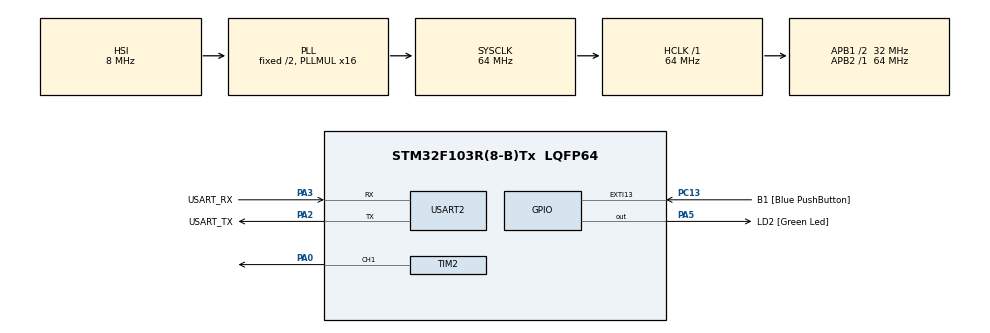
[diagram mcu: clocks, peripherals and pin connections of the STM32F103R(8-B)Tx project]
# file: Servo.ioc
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Mcu.Family=STM32F1
Mcu.Name=STM32F103R(8-B)Tx
Mcu.Package=LQFP64
NVIC.EXTI15_10_IRQn=true\:0\:0\:false\:false\:true\:true\:true\:true
NVIC.PriorityGroup=NVIC_PRIORITYGROUP_4
PA0-WKUP.Signal=S_TIM2_CH1_ETR
PA13.GPIO_Label=TMS
PA13.Mode=Serial_Wire
PA13.Signal=SYS_JTMS-SWDIO
PA14.GPIO_Label=TCK
PA14.Mode=Serial_Wire
PA14.Signal=SYS_JTCK-SWCLK
PA2.GPIO_Label=USART_TX
PA2.GPIO_Mode=GPIO_MODE_AF_PP
PA2.GPIO_PuPd=GPIO_NOPULL
PA2.GPIO_Speed=GPIO_SPEED_FREQ_LOW
PA2.Mode=Asynchronous
PA2.Signal=USART2_TX
PA3.GPIO_Label=USART_RX
PA3.GPIO_Mode=GPIO_MODE_AF_PP
PA3.GPIO_PuPd=GPIO_NOPULL
PA3.GPIO_Speed=GPIO_SPEED_FREQ_LOW
PA3.Mode=Asynchronous
PA3.Signal=USART2_RX
PA5.GPIO_Label=LD2 [Green Led]
PA5.GPIO_ModeDefaultOutputPP=GPIO_MODE_OUTPUT_PP
PA5.GPIO_PuPd=GPIO_NOPULL
PA5.GPIO_Speed=GPIO_SPEED_FREQ_LOW
PA5.Signal=GPIO_Output
PB3.GPIO_Label=SWO
PB3.Signal=SYS_JTDO-TRACESWO
PC13-TAMPER-RTC.GPIO_Label=B1 [Blue PushButton]
PC13-TAMPER-RTC.GPIO_PuPd=GPIO_NOPULL
PC13-TAMPER-RTC.Signal=GPXTI13
PC14-OSC32_IN.Signal=RCC_OSC32_IN
PC15-OSC32_OUT.Signal=RCC_OSC32_OUT
PD0-OSC_IN.Signal=RCC_OSC_IN
PD1-OSC_OUT.Signal=RCC_OSC_OUT
ProjectManager.HeapSize=0x200
ProjectManager.StackSize=0x400
ProjectManager.TargetToolchain=STM32CubeIDE
RCC.AHBFreq_Value=64000000
RCC.APB1CLKDivider=RCC_HCLK_DIV2
RCC.APB1Freq_Value=32000000
RCC.APB1TimFreq_Value=64000000
RCC.APB2Freq_Value=64000000
RCC.APB2TimFreq_Value=64000000
RCC.HCLKFreq_Value=64000000
RCC.PLLMUL=RCC_PLL_MUL16
RCC.RTCClockSelection=RCC_RTCCLKSOURCE_LSE
RCC.SYSCLKFreq_VALUE=64000000
RCC.SYSCLKSource=RCC_SYSCLKSOURCE_PLLCLK
RCC.USBFreq_Value=64000000
SH.S_TIM2_CH1_ETR.0=TIM2_CH1,PWM Generation1 CH1
TIM2.Channel-PWM\ Generation1\ CH1=TIM_CHANNEL_1
TIM2.Period=1000-1
TIM2.Prescaler=1280-1
USART2.VirtualMode=VM_ASYNC
VP_TIM2_VS_ClockSourceINT.Mode=Internal
board=NUCLEO-F103RB

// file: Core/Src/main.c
/* USER CODE BEGIN Header */
/**
  ******************************************************************************
  * @file           : main.c
  * @brief          : Main program body
  ******************************************************************************
  * @attention
  *
  * Copyright (c) 2026 STMicroelectronics.
  * All rights reserved.
  *
  * This software is licensed under terms that can be found in the LICENSE file
  * in the root directory of this software component.
  * If no LICENSE file comes with this software, it is provided AS-IS.
  *
  ******************************************************************************
  */
/* USER CODE END Header */
#include "main.h"

/* USER CODE BEGIN Includes */
#include "uart2_printf.h"
/* USER CODE END Includes */

/* USER CODE BEGIN PD */
#define MAX_POS 125
#define MIN_POS  25
#define POS_STEP  1
/* USER CODE END PD */

TIM_HandleTypeDef htim2;

UART_HandleTypeDef huart2;

/* USER CODE BEGIN PV */
uint8_t ch;
uint8_t pos = 75;
/* USER CODE END PV */

void SystemClock_Config(void);
static void MX_GPIO_Init(void);
static void MX_TIM2_Init(void);
static void MX_USART2_UART_Init(void);

int main(void)
{

  /* MCU Configuration--------------------------------------------------------*/

  /* Reset of all peripherals, Initializes the Flash interface and the Systick. */
  HAL_Init();

  /* Configure the system clock */
  SystemClock_Config();

  /* Initialize all configured peripherals */
  MX_GPIO_Init();
  MX_TIM2_Init();
  MX_USART2_UART_Init();
  /* USER CODE BEGIN 2 */
   printf("Servo Control!\n");
   HAL_TIM_PWM_Start(&htim2,TIM_CHANNEL_1);
   __HAL_TIM_SetCompare(&htim2, TIM_CHANNEL_1, 75);
 HAL_Delay(10);
  /* USER CODE END 2 */

  /* Infinite loop */
  /* USER CODE BEGIN WHILE */
   while (1)
   {
	   if(HAL_UART_Receive(&huart2, &ch, 1, 10) == HAL_OK)
	   {
		   if(ch == '=') //'+'
		   {
			   if(pos + POS_STEP <= MAX_POS)
			   {
				   pos = pos + POS_STEP;
			   }
			   else
			   {
				   pos = MAX_POS;
			   }
		   }
		   else if(ch == '-')
		   {
			   if(pos - POS_STEP >= MIN_POS)
			   {
				   pos = pos - POS_STEP;
			   }
			   else
			   {
				   pos = MIN_POS;
			   }
		   }
		   else if(ch == 'i')
		   {
			   pos = 75;
		   }
		   else
			  {
				  continue;
			  }
       __HAL_TIM_SetCompare(&htim2, TIM_CHANNEL_1, pos);
     HAL_Delay(10);
     	 printf(": position = %d\n", pos);
	   }
   }
    /* USER CODE END WHILE */

  }

void SystemClock_Config(void)
{
  RCC_OscInitTypeDef RCC_OscInitStruct = {0};
  RCC_ClkInitTypeDef RCC_ClkInitStruct = {0};

  /** Initializes the RCC Oscillators according to the specified parameters
  * in the RCC_OscInitTypeDef structure.
  */
  RCC_OscInitStruct.OscillatorType = RCC_OSCILLATORTYPE_HSI;
  RCC_OscInitStruct.HSIState = RCC_HSI_ON;
  RCC_OscInitStruct.HSICalibrationValue = RCC_HSICALIBRATION_DEFAULT;
  RCC_OscInitStruct.PLL.PLLState = RCC_PLL_ON;
  RCC_OscInitStruct.PLL.PLLSource = RCC_PLLSOURCE_HSI_DIV2;
  RCC_OscInitStruct.PLL.PLLMUL = RCC_PLL_MUL16;
  if (HAL_RCC_OscConfig(&RCC_OscInitStruct) != HAL_OK)
  {
    Error_Handler();
  }

  /** Initializes the CPU, AHB and APB buses clocks
  */
  RCC_ClkInitStruct.ClockType = RCC_CLOCKTYPE_HCLK|RCC_CLOCKTYPE_SYSCLK
                              |RCC_CLOCKTYPE_PCLK1|RCC_CLOCKTYPE_PCLK2;
  RCC_ClkInitStruct.SYSCLKSource = RCC_SYSCLKSOURCE_PLLCLK;
  RCC_ClkInitStruct.AHBCLKDivider = RCC_SYSCLK_DIV1;
  RCC_ClkInitStruct.APB1CLKDivider = RCC_HCLK_DIV2;
  RCC_ClkInitStruct.APB2CLKDivider = RCC_HCLK_DIV1;

  if (HAL_RCC_ClockConfig(&RCC_ClkInitStruct, FLASH_LATENCY_2) != HAL_OK)
  {
    Error_Handler();
  }
}

static void MX_TIM2_Init(void)
{

  TIM_ClockConfigTypeDef sClockSourceConfig = {0};
  TIM_MasterConfigTypeDef sMasterConfig = {0};
  TIM_OC_InitTypeDef sConfigOC = {0};

  htim2.Instance = TIM2;
  htim2.Init.Prescaler = 1280-1;
  htim2.Init.CounterMode = TIM_COUNTERMODE_UP;
  htim2.Init.Period = 1000-1;
  htim2.Init.ClockDivision = TIM_CLOCKDIVISION_DIV1;
  htim2.Init.AutoReloadPreload = TIM_AUTORELOAD_PRELOAD_DISABLE;
  if (HAL_TIM_Base_Init(&htim2) != HAL_OK)
  {
    Error_Handler();
  }
  sClockSourceConfig.ClockSource = TIM_CLOCKSOURCE_INTERNAL;
  if (HAL_TIM_ConfigClockSource(&htim2, &sClockSourceConfig) != HAL_OK)
  {
    Error_Handler();
  }
  if (HAL_TIM_PWM_Init(&htim2) != HAL_OK)
  {
    Error_Handler();
  }
  sMasterConfig.MasterOutputTrigger = TIM_TRGO_RESET;
  sMasterConfig.MasterSlaveMode = TIM_MASTERSLAVEMODE_DISABLE;
  if (HAL_TIMEx_MasterConfigSynchronization(&htim2, &sMasterConfig) != HAL_OK)
  {
    Error_Handler();
  }
  sConfigOC.OCMode = TIM_OCMODE_PWM1;
  sConfigOC.Pulse = 0;
  sConfigOC.OCPolarity = TIM_OCPOLARITY_HIGH;
  sConfigOC.OCFastMode = TIM_OCFAST_DISABLE;
  if (HAL_TIM_PWM_ConfigChannel(&htim2, &sConfigOC, TIM_CHANNEL_1) != HAL_OK)
  {
    Error_Handler();
  }
  HAL_TIM_MspPostInit(&htim2);

}

static void MX_USART2_UART_Init(void)
{

  huart2.Instance = USART2;
  huart2.Init.BaudRate = 115200;
  huart2.Init.WordLength = UART_WORDLENGTH_8B;
  huart2.Init.StopBits = UART_STOPBITS_1;
  huart2.Init.Parity = UART_PARITY_NONE;
  huart2.Init.Mode = UART_MODE_TX_RX;
  huart2.Init.HwFlowCtl = UART_HWCONTROL_NONE;
  huart2.Init.OverSampling = UART_OVERSAMPLING_16;
  if (HAL_UART_Init(&huart2) != HAL_OK)
  {
    Error_Handler();
  }

}

static void MX_GPIO_Init(void)
{
  GPIO_InitTypeDef GPIO_InitStruct = {0};

  /* GPIO Ports Clock Enable */
  __HAL_RCC_GPIOC_CLK_ENABLE();
  __HAL_RCC_GPIOD_CLK_ENABLE();
  __HAL_RCC_GPIOA_CLK_ENABLE();
  __HAL_RCC_GPIOB_CLK_ENABLE();

  /*Configure GPIO pin Output Level */
  HAL_GPIO_WritePin(LD2_GPIO_Port, LD2_Pin, GPIO_PIN_RESET);

  /*Configure GPIO pin : B1_Pin */
  GPIO_InitStruct.Pin = B1_Pin;
  GPIO_InitStruct.Mode = GPIO_MODE_IT_RISING;
  GPIO_InitStruct.Pull = GPIO_NOPULL;
  HAL_GPIO_Init(B1_GPIO_Port, &GPIO_InitStruct);

  /*Configure GPIO pin : LD2_Pin */
  GPIO_InitStruct.Pin = LD2_Pin;
  GPIO_InitStruct.Mode = GPIO_MODE_OUTPUT_PP;
  GPIO_InitStruct.Pull = GPIO_NOPULL;
  GPIO_InitStruct.Speed = GPIO_SPEED_FREQ_LOW;
  HAL_GPIO_Init(LD2_GPIO_Port, &GPIO_InitStruct);

  /* EXTI interrupt init*/
  HAL_NVIC_SetPriority(EXTI15_10_IRQn, 0, 0);
  HAL_NVIC_EnableIRQ(EXTI15_10_IRQn);

}

void Error_Handler(void)
{
  __disable_irq();
  while (1)
  {
  }
}
